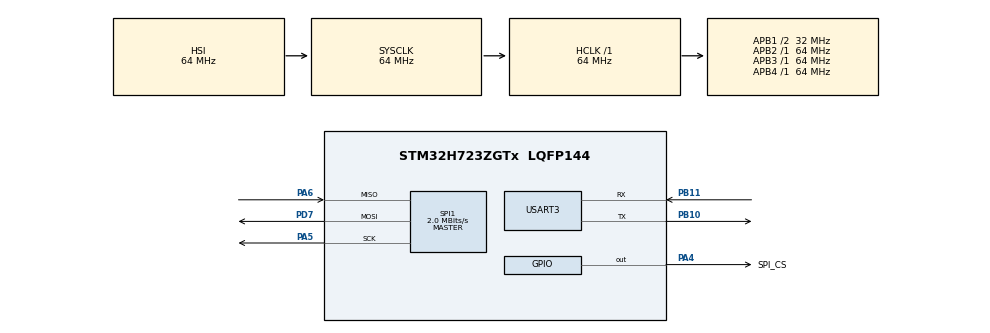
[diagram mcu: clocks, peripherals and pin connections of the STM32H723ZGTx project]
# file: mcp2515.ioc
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CORTEX_M7.default_mode_Activation=1
Mcu.Family=STM32H7
Mcu.Name=STM32H723ZGTx
Mcu.Package=LQFP144
NVIC.PriorityGroup=NVIC_PRIORITYGROUP_4
NVIC.USART3_IRQn=true\:0\:0\:false\:false\:true\:true\:true\:true
PA4.GPIO_Label=SPI_CS
PA4.Signal=GPIO_Output
PA5.Mode=Full_Duplex_Master
PA5.Signal=SPI1_SCK
PA6.Mode=Full_Duplex_Master
PA6.Signal=SPI1_MISO
PB10.Mode=Asynchronous
PB10.Signal=USART3_TX
PB11.Mode=Asynchronous
PB11.Signal=USART3_RX
PD7.Mode=Full_Duplex_Master
PD7.Signal=SPI1_MOSI
PH0-OSC_IN.Mode=HSE-External-Oscillator
PH0-OSC_IN.Signal=RCC_OSC_IN
PH1-OSC_OUT.Mode=HSE-External-Oscillator
PH1-OSC_OUT.Signal=RCC_OSC_OUT
ProjectManager.HeapSize=0x200
ProjectManager.StackSize=0x400
ProjectManager.TargetToolchain=STM32CubeIDE
RCC.ADCFreq_Value=129000000
RCC.APB1Freq_Value=32000000
RCC.APB2Freq_Value=64000000
RCC.APB3Freq_Value=64000000
RCC.APB4Freq_Value=64000000
RCC.CortexFreq_Value=64000000
RCC.D2PPRE1=RCC_APB1_DIV2
RCC.DIVM1=4
RCC.DIVN1=12
RCC.DIVQ1=3
RCC.HCLKFreq_Value=64000000
RCC.PLLFRACN=0
RCC.SYSCLKFreq_VALUE=64000000
RCC.USBFreq_Value=64000000
SPI1.BaudRatePrescaler=SPI_BAUDRATEPRESCALER_32
SPI1.CalculateBaudRate=2.0 MBits/s
SPI1.DataSize=SPI_DATASIZE_8BIT
SPI1.Direction=SPI_DIRECTION_2LINES
SPI1.Mode=SPI_MODE_MASTER
SPI1.VirtualType=VM_MASTER
USART3.VirtualMode-Asynchronous=VM_ASYNC
VP_MEMORYMAP_VS_MEMORYMAP.Mode=CurAppReg
board=custom

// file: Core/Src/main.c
/* USER CODE BEGIN Header */
///**
//  ******************************************************************************
//  * @file           : main.c
//  * @brief          : Main program body
//  ******************************************************************************
//  * @attention
//  *
//  * Copyright (c) 2026 STMicroelectronics.
//  * All rights reserved.
//  *
//  * This software is licensed under terms that can be found in the LICENSE file
//  * in the root directory of this software component.
//  * If no LICENSE file comes with this software, it is provided AS-IS.
//  *
//  ******************************************************************************
//  */
/* USER CODE END Header */
#include "main.h"

/* USER CODE BEGIN Includes */
#include "stm32h7xx_hal.h"
#include "CAN_SPI.h"
#include <stdio.h>
#include "uds_services.h"
//
/* USER CODE END Includes */

/* USER CODE BEGIN PTD */
//
/* USER CODE END PTD */

/* USER CODE BEGIN PD */
//
#define MCP2515_CS_LOW() \
    HAL_GPIO_WritePin(SPI_CS_GPIO_Port, SPI_CS_Pin, GPIO_PIN_RESET)

#define MCP2515_CS_HIGH() \
    HAL_GPIO_WritePin(SPI_CS_GPIO_Port, SPI_CS_Pin, GPIO_PIN_SET)
/* USER CODE END PD */

/* USER CODE BEGIN PM */
//
/* USER CODE END PM */

SPI_HandleTypeDef hspi1;

UART_HandleTypeDef huart3;

/* USER CODE BEGIN PV */
//
uCAN_MSG txMessage;

uCAN_MSG rxMessage;
/* USER CODE END PV */

void SystemClock_Config(void);
static void MPU_Config(void);
static void MX_GPIO_Init(void);
static void MX_SPI1_Init(void);
static void MX_USART3_UART_Init(void);
/* USER CODE BEGIN PFP */
//
/* USER CODE END PFP */

/* USER CODE BEGIN 0 */
//

extern SPI_HandleTypeDef hspi1;

#define MCP_CS_LOW()  HAL_GPIO_WritePin(GPIOA, GPIO_PIN_4, GPIO_PIN_RESET)
#define MCP_CS_HIGH() HAL_GPIO_WritePin(GPIOA, GPIO_PIN_4, GPIO_PIN_SET)

#define MCP2515_RESET       0xC0
#define MCP2515_READ        0x03
#define MCP2515_WRITE       0x02

#define MCP2515_CANCTRL     0x0F
#define MCP2515_CANSTAT     0x0E
#define MCP2515_CNF1        0x2A

static uint8_t SPI_TxRx(uint8_t data)
{
    uint8_t rx = 0;

    if (HAL_SPI_TransmitReceive(&hspi1, &data, &rx, 1, 100) != HAL_OK)
    {
        printf("SPI ERROR\r\n");
    }

    return rx;
}

static void MCP2515_Reset(void)
{
    MCP_CS_LOW();

    SPI_TxRx(MCP2515_RESET);

    MCP_CS_HIGH();

    HAL_Delay(10);
}

//static uint8_t MCP2515_Read(uint8_t address)
//{
//    uint8_t value;
//
//    MCP_CS_LOW();
//
//    SPI_TxRx(MCP2515_READ);
//    SPI_TxRx(address);
//    value = SPI_TxRx(0x00);
//
//    MCP_CS_HIGH();
//
//    return value;
//}

static uint8_t MCP2515_Read(uint8_t address)
{
    uint8_t value;

    MCP2515_CS_LOW();

    printf("CS LOW: PA4=%lu\r\n",
           (GPIOA->IDR >> 4) & 1U);

    SPI_TxRx(0x03);
    SPI_TxRx(address);
    value = SPI_TxRx(0x00);

    MCP2515_CS_HIGH();

    printf("CS HIGH: PA4=%lu\r\n",
           (GPIOA->IDR >> 4) & 1U);

    return value;
}

static void MCP2515_Write(uint8_t address, uint8_t value)
{
    MCP_CS_LOW();

    SPI_TxRx(MCP2515_WRITE);
    SPI_TxRx(address);
    SPI_TxRx(value);

    MCP_CS_HIGH();
}

static void MCP2515_Test(void)
{
    uint8_t canstat;
    uint8_t canctrl;
    uint8_t cnf1;

    printf("\r\n============================\r\n");
    printf("MCP2515 TEST START\r\n");
    printf("============================\r\n");

    /*
     * RESET
     */
    MCP2515_Reset();

    printf("MCP2515 reset done\r\n");

    /*
     * Read CANSTAT
     */
    canstat = MCP2515_Read(MCP2515_CANSTAT);

    printf("CANSTAT = 0x%02X\r\n", canstat);

    /*
     * Read CANCTRL
     */
    canctrl = MCP2515_Read(MCP2515_CANCTRL);

    printf("CANCTRL = 0x%02X\r\n", canctrl);

    /*
     * Write CNF1
     */
    printf("Writing CNF1 = 0x55\r\n");

    MCP2515_Write(MCP2515_CNF1, 0x55);

    HAL_Delay(1);

    /*
     * Read CNF1 back
     */
    cnf1 = MCP2515_Read(MCP2515_CNF1);

    printf("CNF1 READBACK = 0x%02X\r\n", cnf1);

    if (cnf1 == 0x55)
    {
        printf("MCP2515 SPI COMMUNICATION OK\r\n");
    }
    else
    {
        printf("MCP2515 SPI COMMUNICATION FAILED\r\n");
    }

    printf("============================\r\n");
}
// uint8_t MCP2515_SPI_Transfer(uint8_t data) {
//	uint8_t rx = 0;
//
//	HAL_StatusTypeDef status;
//
//	status = HAL_SPI_TransmitReceive(&hspi1, &data, &rx, 1, 100);
//	printf("SPI TX=0x%02X RX=0x%02X STATUS=%d\r\n", data, rx, status);
//
//	if (status != HAL_OK) {
//		printf("SPI ERROR = %d\r\n", status);
//	}
//
//	return rx;
//}
//
//void MCP2515_Reset(void) {
//	MCP2515_CS_LOW();
//
//	MCP2515_SPI_Transfer(0xC0);
//
//	MCP2515_CS_HIGH();
//
//	HAL_Delay(10);
//}
//
//uint8_t MCP2515_ReadRegister(uint8_t address) {
//	uint8_t rx;
//
//	MCP2515_CS_LOW();
//
//	MCP2515_SPI_Transfer(0x03);       // READ command
//	MCP2515_SPI_Transfer(address);    // Register address
//
//	rx = MCP2515_SPI_Transfer(0x00);  // Dummy byte
//
//	MCP2515_CS_HIGH();
//
//	return rx;
//}
//
//static void GPIO_Loopback_Test(void)
//{
//    GPIO_InitTypeDef GPIO_InitStruct = {0};
//
//    /* PA7 as GPIO output */
//    GPIO_InitStruct.Pin = GPIO_PIN_7;
//    GPIO_InitStruct.Mode = GPIO_MODE_OUTPUT_PP;
//    GPIO_InitStruct.Pull = GPIO_NOPULL;
//    GPIO_InitStruct.Speed = GPIO_SPEED_FREQ_LOW;
//    HAL_GPIO_Init(GPIOA, &GPIO_InitStruct);
//
//    /* PA6 as GPIO input */
//    GPIO_InitStruct.Pin = GPIO_PIN_6;
//    GPIO_InitStruct.Mode = GPIO_MODE_INPUT;
//    GPIO_InitStruct.Pull = GPIO_NOPULL;
//    HAL_GPIO_Init(GPIOA, &GPIO_InitStruct);
//
//    /* Drive PA7 LOW */
//    HAL_GPIO_WritePin(GPIOA, GPIO_PIN_7, GPIO_PIN_RESET);
//    HAL_Delay(10);
//
//    printf("GPIO LOW: PA6=%d\r\n",
//           HAL_GPIO_ReadPin(GPIOA, GPIO_PIN_6));
//
//    /* Drive PA7 HIGH */
//    HAL_GPIO_WritePin(GPIOA, GPIO_PIN_7, GPIO_PIN_SET);
//    HAL_Delay(10);
//
//    printf("GPIO HIGH: PA6=%d\r\n",
//           HAL_GPIO_ReadPin(GPIOA, GPIO_PIN_6));
//}
//
//uint8_t MCP2515_ReadStatusRaw(void)
//{
//    uint8_t tx = 0xA0;
//    uint8_t rx = 0x00;
//
//    MCP2515_CS_LOW();
//
//    HAL_SPI_TransmitReceive(&hspi1, &tx, &rx, 1, 100);
//
//    tx = 0x00;
//
//    HAL_SPI_TransmitReceive(&hspi1, &tx, &rx, 1, 100);
//
//    MCP2515_CS_HIGH();
//
//    return rx;
//}

static void UDS_SendResponse(uint8_t *data, uint8_t dlc)
{
    uCAN_MSG msg;

    msg.frame.idType = 0;       // Standard CAN ID
    msg.frame.id     = UDS_RESPONSE_ID;
    msg.frame.dlc    = dlc;

    msg.frame.data0 = (dlc > 0) ? data[0] : 0;
    msg.frame.data1 = (dlc > 1) ? data[1] : 0;
    msg.frame.data2 = (dlc > 2) ? data[2] : 0;
    msg.frame.data3 = (dlc > 3) ? data[3] : 0;
    msg.frame.data4 = (dlc > 4) ? data[4] : 0;
    msg.frame.data5 = (dlc > 5) ? data[5] : 0;
    msg.frame.data6 = (dlc > 6) ? data[6] : 0;
    msg.frame.data7 = (dlc > 7) ? data[7] : 0;
    printf("\r\nUDS RESPONSE\r\n");
    printf("CAN ID: 0x%03lX\r\n", msg.frame.id);
    printf("DLC: %d\r\n", msg.frame.dlc);
    printf("DATA:");

    for (uint8_t i = 0; i < dlc; i++)
    {
        printf(" %02X", data[i]);
    }

    printf("\r\n");
    CANSPI_Transmit(&msg);
}

static void UART_CAN_Test(void)
{
    static char line[64];
    static uint8_t pos = 0;

    uint8_t ch;

    if (HAL_UART_Receive(&huart3, &ch, 1, 0) != HAL_OK)
        return;

    if (ch == '\r' || ch == '\n')
    {
        if (pos == 0)
            return;

        line[pos] = '\0';

        unsigned int id;
        unsigned int d[8];
        int count;

        count = sscanf(line,
                       "%x %x %x %x %x %x %x %x %x",
                       &id,
                       &d[0], &d[1], &d[2], &d[3],
                       &d[4], &d[5], &d[6], &d[7]);

        if (count >= 2 && count <= 9)
        {
            uCAN_MSG msg = {0};

            msg.frame.idType = dSTANDARD_CAN_MSG_ID_2_0B;
            msg.frame.id = id;
            msg.frame.dlc = count - 1;

            msg.frame.data0 = (count > 1) ? d[0] : 0;
            msg.frame.data1 = (count > 2) ? d[1] : 0;
            msg.frame.data2 = (count > 3) ? d[2] : 0;
            msg.frame.data3 = (count > 4) ? d[3] : 0;
            msg.frame.data4 = (count > 5) ? d[4] : 0;
            msg.frame.data5 = (count > 6) ? d[5] : 0;
            msg.frame.data6 = (count > 7) ? d[6] : 0;
            msg.frame.data7 = (count > 8) ? d[7] : 0;

            printf("\r\nUART CAN TX\r\n");
            printf("ID  = 0x%03lX\r\n", msg.frame.id);
            printf("DLC = %d\r\n", msg.frame.dlc);
            printf("DATA:");

//            for (uint8_t i = 0; i < msg.frame.dlc; i++)
//            {
//                printf(" %02X", msg.frame.data0 + i);
//            }
            uint8_t *p = &msg.frame.data0;

            for (uint8_t i = 0; i < msg.frame.dlc; i++)
            {
                printf(" %02X", p[i]);
            }

            printf("\r\n");

            if (CANSPI_Transmit(&msg))
            {
                printf("CANSPI_Transmit OK\r\n");
            }
            else
            {
                printf("CANSPI_Transmit FAILED\r\n");
            }
        }
        else
        {
            printf("Invalid CAN command\r\n");
        }

        pos = 0;
    }
    else
    {
        if (pos < sizeof(line) - 1)
        {
            line[pos++] = ch;
        }
        else
        {
            pos = 0;
            printf("UART command too long\r\n");
        }
    }
}

static void UDS_ProcessRequest(uCAN_MSG *rx)
{
    uint8_t sid;
    uint8_t response[8] = {0};

    /* Only accept requests from the expected diagnostic CAN ID */
    if (rx->frame.id != UDS_REQUEST_ID)
    {
        return;
    }

    sid = rx->frame.data1;

    printf("\r\nUDS REQUEST\r\n");
    printf("CAN ID: 0x%03lX\r\n", rx->frame.id);
    printf("SID: 0x%02X\r\n", sid);

    switch (sid)
    {
        /*
         * 0x10 - Diagnostic Session Control
         *
         * Example:
         * 02 10 01
         */
        case UDS_DIAGNOSTIC_SESSION_CONTROL:

            if (rx->frame.dlc < 2)
            {
                response[0] = 0x03;
                response[1] = 0x7F;
                response[2] = sid;
                response[3] = UDS_NRC_INCORRECT_MESSAGE_LENGTH;

                UDS_SendResponse(response, 4);
                break;
            }

            printf("UDS 0x10 Session Control\r\n");
            printf("Subfunction = 0x%02X\r\n", rx->frame.data1);

            /*
             * Positive response:
             *
             * 06 50 01 xx xx xx xx
             *
             * For now the timing values are examples.
             */
            response[0] = 0x06;
            response[1] = 0x50;
            response[2] = rx->frame.data1;

            /* P2Server = 50 ms */
            response[3] = 0x00;
            response[4] = 0x32;

            /* P2*Server = 5000 ms */
            response[5] = 0x13;
            response[6] = 0x88;

            UDS_SendResponse(response, 7);

            break;

        /*
         * 0x3E - Tester Present
         *
         * Request:
         * 02 3E 00
         *
         * Response:
         * 02 7E 00
         */
        case UDS_TESTER_PRESENT:

            if (rx->frame.dlc < 2)
            {
                response[0] = 0x03;
                response[1] = 0x7F;
                response[2] = sid;
                response[3] = UDS_NRC_INCORRECT_MESSAGE_LENGTH;

                UDS_SendResponse(response, 4);
                break;
            }

            printf("UDS 0x3E Tester Present\r\n");

            /*
             * Suppress positive response bit = bit 7.
             */
            if (rx->frame.data1 & 0x80)
            {
                printf("Positive response suppressed\r\n");
                break;
            }

            response[0] = 0x02;
            response[1] = 0x7E;
            response[2] = rx->frame.data1;

            UDS_SendResponse(response, 3);

            break;

        /*
         * 0x22 - Read Data By Identifier
         */
        case UDS_SID_READ_DATA_BY_IDENTIFIER:

            printf("UDS 0x22 ReadDataByIdentifier\r\n");

            if (rx->frame.dlc < 3)
            {
                response[0] = 0x03;
                response[1] = 0x7F;
                response[2] = sid;
                response[3] = UDS_NRC_INCORRECT_MESSAGE_LENGTH;

                UDS_SendResponse(response, 4);
                break;
            }

            printf("DID = 0x%02X%02X\r\n",
                   rx->frame.data1,
                   rx->frame.data2);

            /*
             * Example DID response.
             *
             * 62 F1 90 ...
             *
             * Keep this small for now so it fits in one CAN frame.
             */
            response[0] = 0x05;
            response[1] = 0x62;
            response[2] = rx->frame.data1;
            response[3] = rx->frame.data2;
            response[4] = 0x12;
            response[5] = 0x34;

            UDS_SendResponse(response, 6);

            break;

        /*
         * 0x2E - Write Data By Identifier
         */
        case UDS_SID_WRITE_DATA_BY_IDENTIFIER:

            printf("UDS 0x2E WriteDataByIdentifier\r\n");

            if (rx->frame.dlc < 3)
            {
                response[0] = 0x03;
                response[1] = 0x7F;
                response[2] = sid;
                response[3] = UDS_NRC_INCORRECT_MESSAGE_LENGTH;

                UDS_SendResponse(response, 4);
                break;
            }

            printf("DID = 0x%02X%02X\r\n",
                   rx->frame.data1,
                   rx->frame.data2);

            /*
             * For now simply acknowledge the DID.
             *
             * Positive response:
             * 6E DID_H DID_L
             */
            response[0] = 0x03;
            response[1] = 0x6E;
            response[2] = rx->frame.data1;
            response[3] = rx->frame.data2;

            UDS_SendResponse(response, 4);

            break;

        /*
         * Unsupported UDS service
         */
        default:

            printf("Unsupported UDS SID: 0x%02X\r\n", sid);

            response[0] = 0x03;
            response[1] = 0x7F;
            response[2] = sid;
            response[3] = UDS_NRC_SERVICE_NOT_SUPPORTED;

            UDS_SendResponse(response, 4);

            break;
    }
}

/* USER CODE END 0 */

int main(void)
{

  /* USER CODE BEGIN 1 */
//
  /* USER CODE END 1 */

  /* MPU Configuration--------------------------------------------------------*/
  MPU_Config();

  /* MCU Configuration--------------------------------------------------------*/

  /* Reset of all peripherals, Initializes the Flash interface and the Systick. */
  HAL_Init();

  /* USER CODE BEGIN Init */
//
  /* USER CODE END Init */

  /* Configure the system clock */
  SystemClock_Config();

  /* USER CODE BEGIN SysInit */
//
  /* USER CODE END SysInit */

  /* Initialize all configured peripherals */
  MX_GPIO_Init();
  MX_SPI1_Init();
  MX_USART3_UART_Init();
  /* USER CODE BEGIN 2 */
//
  /* USER CODE END 2 */

  /* Infinite loop */
  /* USER CODE BEGIN WHILE */
//  while (1)
//  {
    /* USER CODE END WHILE */

    /* USER CODE BEGIN 3 */
//  }
	//  HAL_GPIO_WritePin(LED_GPIO_Port, LED_Pin, GPIO_PIN_RESET);
//  int ret;
//
//  ret = CANSPI_Initialize();
//  printf("ret: %d\n\r",ret);
//  if(ret < 0){
//
//  //  	  HAL_GPIO_WritePin(LED_GPIO_Port, LED_Pin, GPIO_PIN_SET);
//
//    while(1){}
//
//  }

	/* USER CODE END 2 */

	/* Infinite loop */

	/* USER CODE BEGIN WHILE */
//
//  while (1)
//
//  {
//
////  /\* USER CODE END WHILE \*/
////
////  /\* USER CODE BEGIN 3 \*/
//
//  if(CANSPI_Receive(&rxMessage)){
//	  printf("can rx frame id %ld\n\r",rxMessage.frame.id);
//	  printf("can rx frame data0 %d\n\r",rxMessage.frame.data0);
////  	  if(rxMessage.frame.id == 0x36){
////
////  		  if(rxMessage.frame.data0 == 1){
////
////  //			  HAL_GPIO_WritePin(LED_GPIO_Port, LED_Pin, GPIO_PIN_SET);
////
////  		  }else{
////
////  			 // HAL_GPIO_WritePin(LED_GPIO_Port, LED_Pin, GPIO_PIN_RESET);
////
////  		  }
////
////  	  }
//
//  	  	HAL_Delay(100);
//
//  		txMessage.frame.idType = rxMessage.frame.idType;
//
//  		txMessage.frame.id = 0x0A;
//
//  		txMessage.frame.dlc = 8;
//
//  		txMessage.frame.data0 = 0;
//
//  		txMessage.frame.data1 = 1;
//
//  		txMessage.frame.data2 = 2;
//
//  		txMessage.frame.data3 = 3;
//
//  		txMessage.frame.data4 = 4;
//
//  		txMessage.frame.data5 = 5;
//
//  		txMessage.frame.data6 = 6;
//
//  		txMessage.frame.data7 = 7;
//
//  		CANSPI_Transmit(&txMessage);
//
//  	  }
//
////  }
//	printf("Starting MCP2515 SPI test...\r\n");
//
//	HAL_GPIO_WritePin(SPI_CS_GPIO_Port,
//	SPI_CS_Pin, GPIO_PIN_SET);
//
//	HAL_Delay(100);
//
////  MCP2515_Reset();
////
////  printf("MCP2515 reset sent\r\n");
//
////  uint8_t canstat = MCP2515_ReadRegister(0x0E);
////
////  printf("CANSTAT = 0x%02X\r\n", canstat);
//
//	MCP2515_CS_LOW();
//
//	MCP2515_SPI_Transfer(0xC0);   // RESET
//
//	MCP2515_CS_HIGH();
//
//	HAL_Delay(10);
//
//	MCP2515_CS_LOW();
//
//	MCP2515_SPI_Transfer(0x03);   // READ
//	MCP2515_SPI_Transfer(0x0E);   // CANSTAT
//
//	uint8_t canstat = MCP2515_SPI_Transfer(0x00);
//
//	MCP2515_CS_HIGH();
//
//	printf("CANSTAT = 0x%02X\r\n", canstat);
//	HAL_GPIO_WritePin(SPI_CS_GPIO_Port, SPI_CS_Pin, GPIO_PIN_RESET);
//
//	uint8_t tx = 0xA5;
//	uint8_t rx = 0;
//
//	HAL_StatusTypeDef status =
//	    HAL_SPI_TransmitReceive(&hspi1, &tx, &rx, 1, 100);
//
//	HAL_GPIO_WritePin(SPI_CS_GPIO_Port, SPI_CS_Pin, GPIO_PIN_SET);
//
//	printf("TX=0x%02X RX=0x%02X STATUS=%d\r\n",
//	       tx, rx, status);
	//GPIO_Loopback_Test();
//	uint8_t tx = 0xA5;
//	uint8_t rx = 0x00;
//
//	HAL_StatusTypeDef status =
//	    HAL_SPI_TransmitReceive(&hspi1, &tx, &rx, 1, 100);
//
//	printf("TX=0x%02X RX=0x%02X STATUS=%d\r\n",
//	       tx, rx, status);

//	while (1)
//	{
//	}

    MCP_CS_HIGH();

//    printf("\r\nSTM32H723 + MCP2515\r\n");
//
//    MCP2515_Test();
	printf("SPI CR1  = 0x%08lX\r\n", SPI1->CR1);
	printf("SPI CFG1 = 0x%08lX\r\n", SPI1->CFG1);
	printf("SPI CFG2 = 0x%08lX\r\n", SPI1->CFG2);
	printf("SPI SR   = 0x%08lX\r\n", SPI1->SR);
	printf("PA4 IDR  = %lu\r\n",
	       (GPIOA->IDR >> 4) & 1U);
	printf("PA5 IDR  = %lu\r\n",
	       (GPIOA->IDR >> 5) & 1U);
	printf("PA6 IDR  = %lu\r\n",
	       (GPIOA->IDR >> 6) & 1U);
	printf("PA7 IDR  = %lu\r\n",
	       (GPIOA->IDR >> 7) & 1U);
	MCP2515_Test();
	uint8_t canstat = MCP2515_Read(0x0E);
	printf("CANSTAT = 0x%02X\r\n", canstat);
//	while (1) {
//
//	}
	printf("\r\nSTM32H723 + MCP2515 UDS\r\n");

	/* Initialize MCP2515 CAN */
	if (CANSPI_Initialize() < 0)
	{
	    printf("CANSPI initialization FAILED\r\n");

	    while (1)
	    {
	    }
	}

	printf("CANSPI initialization OK\r\n");

//	while (1)
//	{
//	    if (CANSPI_Receive(&rxMessage))
//	    {
//	        printf("\r\nCAN RX\r\n");
//	        printf("ID  = 0x%03lX\r\n", rxMessage.frame.id);
//	        printf("DLC = %d\r\n", rxMessage.frame.dlc);
//
//	        printf("DATA:");
//	        printf(" %02X", rxMessage.frame.data0);
//	        printf(" %02X", rxMessage.frame.data1);
//	        printf(" %02X", rxMessage.frame.data2);
//	        printf(" %02X", rxMessage.frame.data3);
//	        printf(" %02X", rxMessage.frame.data4);
//	        printf(" %02X", rxMessage.frame.data5);
//	        printf(" %02X", rxMessage.frame.data6);
//	        printf(" %02X\r\n", rxMessage.frame.data7);
//
//	        UDS_ProcessRequest(&rxMessage);
//	    }
//	}
	while (1)
	{
	    UART_CAN_Test();

	    if (CANSPI_Receive(&rxMessage))
	    {
	        printf("\r\nCAN RX\r\n");
	        printf("ID  = 0x%03lX\r\n", rxMessage.frame.id);
	        printf("DLC = %d\r\n", rxMessage.frame.dlc);

	        printf("DATA: %02X %02X %02X %02X %02X %02X %02X %02X\r\n",
	               rxMessage.frame.data0,
	               rxMessage.frame.data1,
	               rxMessage.frame.data2,
	               rxMessage.frame.data3,
	               rxMessage.frame.data4,
	               rxMessage.frame.data5,
	               rxMessage.frame.data6,
	               rxMessage.frame.data7);

	        UDS_ProcessRequest(&rxMessage);
	    }
	}

  /* USER CODE END 3 */
}

void SystemClock_Config(void)
{
  RCC_OscInitTypeDef RCC_OscInitStruct = {0};
  RCC_ClkInitTypeDef RCC_ClkInitStruct = {0};

  /** Supply configuration update enable
  */
  HAL_PWREx_ConfigSupply(PWR_LDO_SUPPLY);

  /** Configure the main internal regulator output voltage
  */
  __HAL_PWR_VOLTAGESCALING_CONFIG(PWR_REGULATOR_VOLTAGE_SCALE3);

  while(!__HAL_PWR_GET_FLAG(PWR_FLAG_VOSRDY)) {}

  /** Initializes the RCC Oscillators according to the specified parameters
  * in the RCC_OscInitTypeDef structure.
  */
  RCC_OscInitStruct.OscillatorType = RCC_OSCILLATORTYPE_HSI;
  RCC_OscInitStruct.HSIState = RCC_HSI_DIV1;
  RCC_OscInitStruct.HSICalibrationValue = 64;
  RCC_OscInitStruct.PLL.PLLState = RCC_PLL_ON;
  RCC_OscInitStruct.PLL.PLLSource = RCC_PLLSOURCE_HSI;
  RCC_OscInitStruct.PLL.PLLM = 4;
  RCC_OscInitStruct.PLL.PLLN = 12;
  RCC_OscInitStruct.PLL.PLLP = 2;
  RCC_OscInitStruct.PLL.PLLQ = 3;
  RCC_OscInitStruct.PLL.PLLR = 2;
  RCC_OscInitStruct.PLL.PLLRGE = RCC_PLL1VCIRANGE_3;
  RCC_OscInitStruct.PLL.PLLVCOSEL = RCC_PLL1VCOWIDE;
  RCC_OscInitStruct.PLL.PLLFRACN = 0;
  if (HAL_RCC_OscConfig(&RCC_OscInitStruct) != HAL_OK)
  {
    Error_Handler();
  }

  /** Initializes the CPU, AHB and APB buses clocks
  */
  RCC_ClkInitStruct.ClockType = RCC_CLOCKTYPE_HCLK|RCC_CLOCKTYPE_SYSCLK
                              |RCC_CLOCKTYPE_PCLK1|RCC_CLOCKTYPE_PCLK2
                              |RCC_CLOCKTYPE_D3PCLK1|RCC_CLOCKTYPE_D1PCLK1;
  RCC_ClkInitStruct.SYSCLKSource = RCC_SYSCLKSOURCE_HSI;
  RCC_ClkInitStruct.SYSCLKDivider = RCC_SYSCLK_DIV1;
  RCC_ClkInitStruct.AHBCLKDivider = RCC_HCLK_DIV1;
  RCC_ClkInitStruct.APB3CLKDivider = RCC_APB3_DIV1;
  RCC_ClkInitStruct.APB1CLKDivider = RCC_APB1_DIV2;
  RCC_ClkInitStruct.APB2CLKDivider = RCC_APB2_DIV1;
  RCC_ClkInitStruct.APB4CLKDivider = RCC_APB4_DIV1;

  if (HAL_RCC_ClockConfig(&RCC_ClkInitStruct, FLASH_LATENCY_1) != HAL_OK)
  {
    Error_Handler();
  }
}

static void MX_SPI1_Init(void)
{

  /* USER CODE BEGIN SPI1_Init 0 */
//
  /* USER CODE END SPI1_Init 0 */

  /* USER CODE BEGIN SPI1_Init 1 */
//
  /* USER CODE END SPI1_Init 1 */
  /* SPI1 parameter configuration*/
  hspi1.Instance = SPI1;
  hspi1.Init.Mode = SPI_MODE_MASTER;
  hspi1.Init.Direction = SPI_DIRECTION_2LINES;
  hspi1.Init.DataSize = SPI_DATASIZE_8BIT;
  hspi1.Init.CLKPolarity = SPI_POLARITY_LOW;
  hspi1.Init.CLKPhase = SPI_PHASE_1EDGE;
  hspi1.Init.NSS = SPI_NSS_SOFT;
  hspi1.Init.BaudRatePrescaler = SPI_BAUDRATEPRESCALER_32;
  hspi1.Init.FirstBit = SPI_FIRSTBIT_MSB;
  hspi1.Init.TIMode = SPI_TIMODE_DISABLE;
  hspi1.Init.CRCCalculation = SPI_CRCCALCULATION_DISABLE;
  hspi1.Init.CRCPolynomial = 0x0;
  hspi1.Init.NSSPMode = SPI_NSS_PULSE_ENABLE;
  hspi1.Init.NSSPolarity = SPI_NSS_POLARITY_LOW;
  hspi1.Init.FifoThreshold = SPI_FIFO_THRESHOLD_01DATA;
  hspi1.Init.TxCRCInitializationPattern = SPI_CRC_INITIALIZATION_ALL_ZERO_PATTERN;
  hspi1.Init.RxCRCInitializationPattern = SPI_CRC_INITIALIZATION_ALL_ZERO_PATTERN;
  hspi1.Init.MasterSSIdleness = SPI_MASTER_SS_IDLENESS_00CYCLE;
  hspi1.Init.MasterInterDataIdleness = SPI_MASTER_INTERDATA_IDLENESS_00CYCLE;
  hspi1.Init.MasterReceiverAutoSusp = SPI_MASTER_RX_AUTOSUSP_DISABLE;
  hspi1.Init.MasterKeepIOState = SPI_MASTER_KEEP_IO_STATE_DISABLE;
  hspi1.Init.IOSwap = SPI_IO_SWAP_DISABLE;
  if (HAL_SPI_Init(&hspi1) != HAL_OK)
  {
    Error_Handler();
  }
  /* USER CODE BEGIN SPI1_Init 2 */
//
  /* USER CODE END SPI1_Init 2 */

}

static void MX_USART3_UART_Init(void)
{

  /* USER CODE BEGIN USART3_Init 0 */
//
  /* USER CODE END USART3_Init 0 */

  /* USER CODE BEGIN USART3_Init 1 */
//
  /* USER CODE END USART3_Init 1 */
  huart3.Instance = USART3;
  huart3.Init.BaudRate = 115200;
  huart3.Init.WordLength = UART_WORDLENGTH_8B;
  huart3.Init.StopBits = UART_STOPBITS_1;
  huart3.Init.Parity = UART_PARITY_NONE;
  huart3.Init.Mode = UART_MODE_TX_RX;
  huart3.Init.HwFlowCtl = UART_HWCONTROL_NONE;
  huart3.Init.OverSampling = UART_OVERSAMPLING_16;
  huart3.Init.OneBitSampling = UART_ONE_BIT_SAMPLE_DISABLE;
  huart3.Init.ClockPrescaler = UART_PRESCALER_DIV1;
  huart3.AdvancedInit.AdvFeatureInit = UART_ADVFEATURE_NO_INIT;
  if (HAL_UART_Init(&huart3) != HAL_OK)
  {
    Error_Handler();
  }
  if (HAL_UARTEx_SetTxFifoThreshold(&huart3, UART_TXFIFO_THRESHOLD_1_8) != HAL_OK)
  {
    Error_Handler();
  }
  if (HAL_UARTEx_SetRxFifoThreshold(&huart3, UART_RXFIFO_THRESHOLD_1_8) != HAL_OK)
  {
    Error_Handler();
  }
  if (HAL_UARTEx_DisableFifoMode(&huart3) != HAL_OK)
  {
    Error_Handler();
  }
  /* USER CODE BEGIN USART3_Init 2 */
//
  /* USER CODE END USART3_Init 2 */

}

static void MX_GPIO_Init(void)
{
  GPIO_InitTypeDef GPIO_InitStruct = {0};
  /* USER CODE BEGIN MX_GPIO_Init_1 */
//
  /* USER CODE END MX_GPIO_Init_1 */

  /* GPIO Ports Clock Enable */
  __HAL_RCC_GPIOH_CLK_ENABLE();
  __HAL_RCC_GPIOA_CLK_ENABLE();
  __HAL_RCC_GPIOB_CLK_ENABLE();
  __HAL_RCC_GPIOD_CLK_ENABLE();

  /*Configure GPIO pin Output Level */
  HAL_GPIO_WritePin(SPI_CS_GPIO_Port, SPI_CS_Pin, GPIO_PIN_RESET);

  /*Configure GPIO pin : SPI_CS_Pin */
  GPIO_InitStruct.Pin = SPI_CS_Pin;
  GPIO_InitStruct.Mode = GPIO_MODE_OUTPUT_PP;
  GPIO_InitStruct.Pull = GPIO_NOPULL;
  GPIO_InitStruct.Speed = GPIO_SPEED_FREQ_LOW;
  HAL_GPIO_Init(SPI_CS_GPIO_Port, &GPIO_InitStruct);

  /* USER CODE BEGIN MX_GPIO_Init_2 */
//
  /* USER CODE END MX_GPIO_Init_2 */
}

/* USER CODE BEGIN 4 */
//
int _write(int file, char *ptr, int len) {
	int DataIdx;
	for (DataIdx = 0; DataIdx < len; DataIdx++) {
		HAL_UART_Transmit(&huart3, (uint8_t*) ptr++, 1, 100);
	}
	return len;
}

/* USER CODE END 4 */

 /* MPU Configuration */

void MPU_Config(void)
{
  MPU_Region_InitTypeDef MPU_InitStruct = {0};

  /* Disables the MPU */
  HAL_MPU_Disable();

  /** Initializes and configures the Region and the memory to be protected
  */
  MPU_InitStruct.Enable = MPU_REGION_ENABLE;
  MPU_InitStruct.Number = MPU_REGION_NUMBER0;
  MPU_InitStruct.BaseAddress = 0x0;
  MPU_InitStruct.Size = MPU_REGION_SIZE_4GB;
  MPU_InitStruct.SubRegionDisable = 0x87;
  MPU_InitStruct.TypeExtField = MPU_TEX_LEVEL0;
  MPU_InitStruct.AccessPermission = MPU_REGION_NO_ACCESS;
  MPU_InitStruct.DisableExec = MPU_INSTRUCTION_ACCESS_DISABLE;
  MPU_InitStruct.IsShareable = MPU_ACCESS_SHAREABLE;
  MPU_InitStruct.IsCacheable = MPU_ACCESS_NOT_CACHEABLE;
  MPU_InitStruct.IsBufferable = MPU_ACCESS_NOT_BUFFERABLE;

  HAL_MPU_ConfigRegion(&MPU_InitStruct);
  /* Enables the MPU */
  HAL_MPU_Enable(MPU_PRIVILEGED_DEFAULT);

}

void Error_Handler(void)
{
  /* USER CODE BEGIN Error_Handler_Debug */
//  /* User can add his own implementation to report the HAL error return state */
//  __disable_irq();
//  while (1)
//  {
//  }
  /* USER CODE END Error_Handler_Debug */
}
#ifdef USE_FULL_ASSERT
/**
  * @brief  Reports the name of the source file and the source line number
  *         where the assert_param error has occurred.
  * @param  file: pointer to the source file name
  * @param  line: assert_param error line source number
  * @retval None
  */
void assert_failed(uint8_t *file, uint32_t line)
{
  /* USER CODE BEGIN 6 */
//  /* User can add his own implementation to report the file name and line number,
//     ex: printf("Wrong parameters value: file %s on line %d\r\n", file, line) */
  /* USER CODE END 6 */
}
#endif /* USE_FULL_ASSERT */
